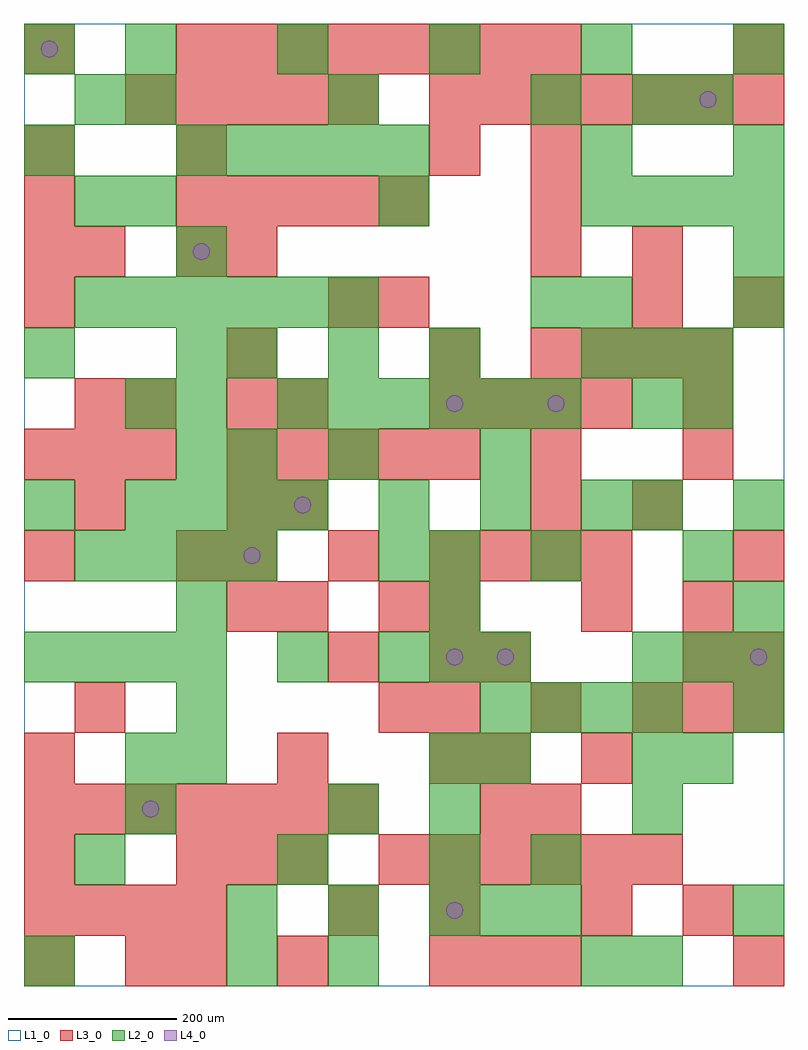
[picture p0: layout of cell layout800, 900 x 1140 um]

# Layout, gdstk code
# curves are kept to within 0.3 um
import gdstk
lib = gdstk.Library(unit=1e-6, precision=1e-09)
def R(c, l, rs):  # rectangles x0, y0, x1, y1
    for r in rs: c.add(gdstk.rectangle(r[:2], r[2:], *l))
def A(c, l, x, y, w, h, nx, ny, dx, dy):  # array of equal rectangles
    R(c, l, [(x+i*dx, y+j*dy, x+i*dx+w, y+j*dy+h) for i in range(nx) for j in range(ny)])
def P(c, l, *ps):  # polygons
    for p in ps: c.add(gdstk.Polygon(p, *l))
L1_0 = (1, 0)
L2_0 = (2, 0)
L3_0 = (3, 0)
L4_0 = (4, 0)

layout800 = lib.new_cell('layout800')
R(layout800, L1_0, [(0,0,900,1140)])
A(layout800, L2_0, 240, 60, 60, 60, 3, 2, 120, 660)
A(layout800, L2_0, 480, 120, 60, 60, 1, 3, 0, 60)
A(layout800, L2_0, 540, 300, 60, 60, 4, 1, 60, 0)
A(layout800, L2_0, 840, 300, 60, 60, 1, 3, 0, 120)
A(layout800, L2_0, 0, 360, 60, 60, 4, 1, 60, 0)
A(layout800, L2_0, 420, 360, 60, 60, 3, 1, 60, 0)
A(layout800, L2_0, 720, 360, 60, 60, 3, 1, 60, 0)
A(layout800, L2_0, 60, 480, 60, 60, 4, 1, 60, 0)
A(layout800, L2_0, 120, 540, 60, 60, 4, 1, 60, 0)
A(layout800, L2_0, 420, 540, 60, 60, 3, 1, 120, 0)
A(layout800, L2_0, 180, 600, 60, 60, 1, 3, 0, 60)
A(layout800, L2_0, 300, 660, 60, 60, 6, 1, 60, 0)
A(layout800, L2_0, 660, 720, 60, 60, 3, 1, 60, 0)
A(layout800, L2_0, 60, 780, 60, 60, 6, 1, 60, 0)
A(layout800, L2_0, 660, 900, 60, 60, 4, 1, 60, 0)
A(layout800, L2_0, 180, 960, 60, 60, 5, 1, 60, 0)
A(layout800, L2_0, 120, 1020, 60, 60, 3, 1, 240, 0)
A(layout800, L2_0, 120, 1080, 60, 60, 5, 1, 180, 0)
R(layout800, L2_0, [(0,0,60,60), (240,0,300,60), (360,0,420,60), (660,0,720,60), (720,0,780,60), (540,60,600,120), (600,60,660,120), (840,60,900,120), (60,120,120,180), (300,120,360,180), (600,120,660,180), (120,180,180,240), (360,180,420,240), (720,180,780,240), (120,240,180,300), (180,240,240,300), (540,240,600,300), (720,240,780,300), (780,240,840,300), (180,300,240,360), (300,360,360,420), (180,420,240,480), (480,420,540,480), (420,480,480,540), (480,480,540,540), (600,480,660,540), (780,480,840,540), (0,540,60,600), (720,540,780,600), (240,600,300,660), (360,600,420,660), (540,600,600,660), (120,660,180,720), (720,660,780,720), (780,660,840,720), (0,720,60,780), (600,780,660,840), (660,780,720,840), (840,780,900,840), (180,840,240,900), (840,840,900,900), (60,900,120,960), (120,900,180,960), (420,900,480,960), (0,960,60,1020), (660,960,720,1020), (840,960,900,1020), (60,1020,120,1080), (720,1020,780,1080), (780,1020,840,1080), (0,1080,60,1140)])
A(layout800, L3_0, 0, 0, 60, 60, 1, 3, 0, 120)
A(layout800, L3_0, 480, 0, 60, 60, 3, 1, 60, 0)
A(layout800, L3_0, 0, 60, 60, 60, 4, 1, 60, 0)
A(layout800, L3_0, 660, 60, 60, 60, 1, 3, 0, 180)
A(layout800, L3_0, 180, 120, 60, 60, 3, 1, 60, 0)
A(layout800, L3_0, 420, 120, 60, 60, 6, 1, 60, 0)
A(layout800, L3_0, 0, 180, 60, 60, 7, 1, 60, 0)
A(layout800, L3_0, 480, 300, 60, 60, 3, 1, 120, 0)
A(layout800, L3_0, 780, 300, 60, 60, 1, 3, 0, 60)
A(layout800, L3_0, 240, 420, 60, 60, 1, 3, 0, 120)
A(layout800, L3_0, 300, 420, 60, 60, 1, 3, 0, 120)
A(layout800, L3_0, 240, 480, 60, 60, 3, 1, 120, 0)
A(layout800, L3_0, 540, 480, 60, 60, 3, 1, 60, 0)
A(layout800, L3_0, 840, 480, 60, 60, 1, 3, 0, 300)
A(layout800, L3_0, 0, 600, 60, 60, 3, 1, 60, 0)
A(layout800, L3_0, 240, 600, 60, 60, 5, 1, 60, 0)
A(layout800, L3_0, 480, 660, 60, 60, 4, 1, 60, 0)
A(layout800, L3_0, 600, 720, 60, 60, 4, 1, 60, 0)
A(layout800, L3_0, 0, 780, 60, 60, 1, 4, 0, 60)
A(layout800, L3_0, 600, 840, 60, 60, 1, 3, 0, 60)
A(layout800, L3_0, 180, 900, 60, 60, 5, 1, 60, 0)
A(layout800, L3_0, 120, 1020, 60, 60, 5, 1, 60, 0)
A(layout800, L3_0, 480, 1020, 60, 60, 7, 1, 60, 0)
A(layout800, L3_0, 180, 1080, 60, 60, 8, 1, 60, 0)
R(layout800, L3_0, [(120,0,180,60), (180,0,240,60), (300,0,360,60), (840,0,900,60), (360,60,420,120), (480,60,540,120), (780,60,840,120), (540,180,600,240), (600,180,660,240), (300,240,360,300), (480,240,540,300), (540,240,600,300), (60,300,120,360), (420,300,480,360), (840,300,900,360), (360,360,420,420), (480,360,540,420), (540,360,600,420), (840,360,900,420), (420,420,480,480), (480,420,540,480), (0,480,60,540), (180,480,240,540), (60,540,120,600), (600,540,660,600), (720,540,780,600), (600,600,660,660), (780,600,840,660), (60,660,120,720), (120,660,180,720), (780,660,840,720), (240,720,300,780), (480,720,540,780), (360,780,420,840), (420,780,480,840), (720,780,780,840), (60,840,120,900), (180,840,240,900), (240,840,300,900), (720,840,780,900), (180,960,240,1020), (480,960,540,1020), (0,1080,60,1140)])
P(layout800, L4_0, [(40,1110),(39.239,1113.827),(37.071,1117.071),(33.827,1119.239),(30,1120),(26.173,1119.239),(22.929,1117.071),(20.761,1113.827),(20,1110),(20.761,1106.173),(22.929,1102.929),(26.173,1100.761),(30,1100),(33.827,1100.761),(37.071,1102.929),(39.239,1106.173)],
  [(160,210),(159.239,213.827),(157.071,217.071),(153.827,219.239),(150,220),(146.173,219.239),(142.929,217.071),(140.761,213.827),(140,210),(140.761,206.173),(142.929,202.929),(146.173,200.761),(150,200),(153.827,200.761),(157.071,202.929),(159.239,206.173)],
  [(220,870),(219.239,873.827),(217.071,877.071),(213.827,879.239),(210,880),(206.173,879.239),(202.929,877.071),(200.761,873.827),(200,870),(200.761,866.173),(202.929,862.929),(206.173,860.761),(210,860),(213.827,860.761),(217.071,862.929),(219.239,866.173)],
  [(280,510),(279.239,513.827),(277.071,517.071),(273.827,519.239),(270,520),(266.173,519.239),(262.929,517.071),(260.761,513.827),(260,510),(260.761,506.173),(262.929,502.929),(266.173,500.761),(270,500),(273.827,500.761),(277.071,502.929),(279.239,506.173)],
  [(340,570),(339.239,573.827),(337.071,577.071),(333.827,579.239),(330,580),(326.173,579.239),(322.929,577.071),(320.761,573.827),(320,570),(320.761,566.173),(322.929,562.929),(326.173,560.761),(330,560),(333.827,560.761),(337.071,562.929),(339.239,566.173)],
  [(520,90),(519.239,93.827),(517.071,97.071),(513.827,99.239),(510,100),(506.173,99.239),(502.929,97.071),(500.761,93.827),(500,90),(500.761,86.173),(502.929,82.929),(506.173,80.761),(510,80),(513.827,80.761),(517.071,82.929),(519.239,86.173)],
  [(520,390),(519.239,393.827),(517.071,397.071),(513.827,399.239),(510,400),(506.173,399.239),(502.929,397.071),(500.761,393.827),(500,390),(500.761,386.173),(502.929,382.929),(506.173,380.761),(510,380),(513.827,380.761),(517.071,382.929),(519.239,386.173)],
  [(520,690),(519.239,693.827),(517.071,697.071),(513.827,699.239),(510,700),(506.173,699.239),(502.929,697.071),(500.761,693.827),(500,690),(500.761,686.173),(502.929,682.929),(506.173,680.761),(510,680),(513.827,680.761),(517.071,682.929),(519.239,686.173)],
  [(580,390),(579.239,393.827),(577.071,397.071),(573.827,399.239),(570,400),(566.173,399.239),(562.929,397.071),(560.761,393.827),(560,390),(560.761,386.173),(562.929,382.929),(566.173,380.761),(570,380),(573.827,380.761),(577.071,382.929),(579.239,386.173)],
  [(640,690),(639.239,693.827),(637.071,697.071),(633.827,699.239),(630,700),(626.173,699.239),(622.929,697.071),(620.761,693.827),(620,690),(620.761,686.173),(622.929,682.929),(626.173,680.761),(630,680),(633.827,680.761),(637.071,682.929),(639.239,686.173)],
  [(820,1050),(819.239,1053.827),(817.071,1057.071),(813.827,1059.239),(810,1060),(806.173,1059.239),(802.929,1057.071),(800.761,1053.827),(800,1050),(800.761,1046.173),(802.929,1042.929),(806.173,1040.761),(810,1040),(813.827,1040.761),(817.071,1042.929),(819.239,1046.173)],
  [(880,390),(879.239,393.827),(877.071,397.071),(873.827,399.239),(870,400),(866.173,399.239),(862.929,397.071),(860.761,393.827),(860,390),(860.761,386.173),(862.929,382.929),(866.173,380.761),(870,380),(873.827,380.761),(877.071,382.929),(879.239,386.173)])

lib.write_gds('layout800.gds')
